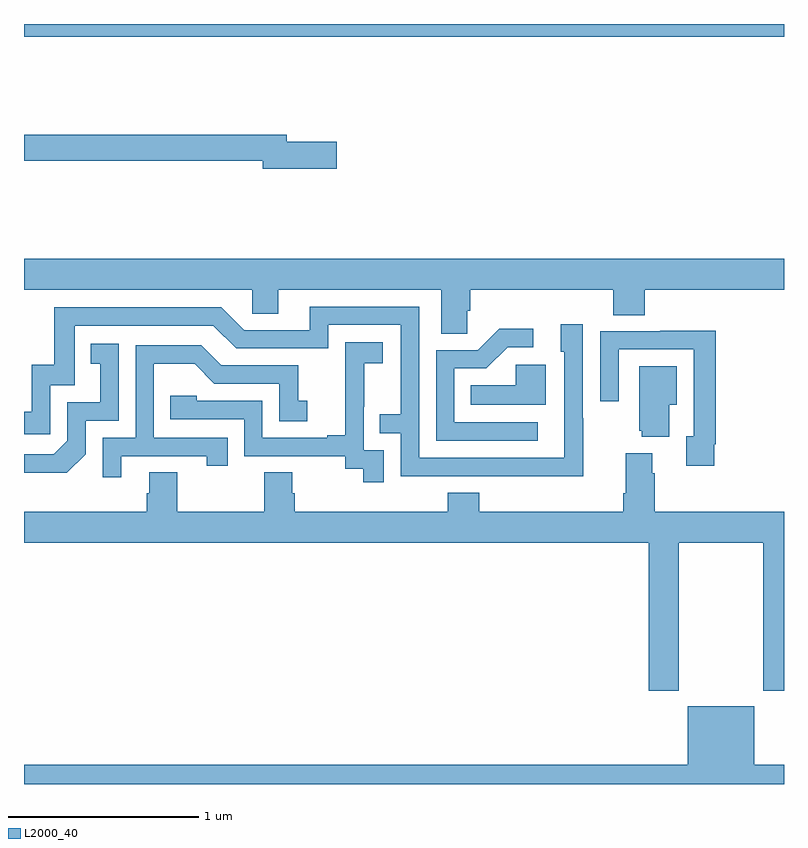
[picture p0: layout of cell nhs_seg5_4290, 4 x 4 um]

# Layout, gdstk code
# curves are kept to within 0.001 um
import gdstk
lib = gdstk.Library(unit=1e-6, precision=1e-09)
def R(c, l, rs):  # rectangles x0, y0, x1, y1
    for r in rs: c.add(gdstk.rectangle(r[:2], r[2:], *l))
def P(c, l, *ps):  # polygons
    for p in ps: c.add(gdstk.Polygon(p, *l))
L2000_40 = (2000, 40)

nhs_seg5_4290 = lib.new_cell('nhs_seg5_4290')
R(nhs_seg5_4290, L2000_40, [(363,884.732,367,884.799)])
P(nhs_seg5_4290, L2000_40, [(364.645,884.18),(364.384,884.18),(364.384,884.216),(363,884.216),(363,884.08),(364.256,884.08),(364.256,884.038),(364.645,884.038)],
  [(365.334,883.291),(365.348,883.291),(365.348,883.4),(366.101,883.4),(366.101,883.267),(366.266,883.267),(366.266,883.4),(367,883.4),(367,883.564),(363,883.564),(363,883.4),(364.2,883.4),(364.2,883.273),(364.339,883.273),(364.339,883.4),(365.195,883.4),(365.195,883.168),(365.334,883.168)],
  [(365.943,882.725),(365.94,882.725),(365.94,883.219),(365.825,883.219),(365.825,883.074),(365.844,883.074),(365.843,882.516),(365.079,882.516),(365.079,883.311),(364.505,883.311),(364.505,883.188),(364.158,883.188),(364.038,883.308),(363.159,883.308),(363.159,883.006),(363.041,883.006),(363.041,882.759),(363,882.759),(363,882.639),(363.138,882.639),(363.138,882.897),(363.267,882.897),(363.267,883.212),(363.996,883.212),(364.116,883.092),(364.602,883.092),(364.602,883.215),(364.983,883.215),(364.983,882.746),(364.873,882.746),(364.873,882.645),(364.983,882.645),(364.983,882.42),(365.943,882.419)],
  [(365.704,882.702),(365.265,882.702),(365.265,882.987),(365.434,882.987),(365.545,883.098),(365.68,883.098),(365.68,883.196),(365.501,883.196),(365.388,883.083),(365.169,883.083),(365.169,882.606),(365.704,882.606)],
  [(366.634,882.586),(366.641,882.586),(366.641,883.184),(366.349,883.184),(366.349,883.182),(366.033,883.182),(366.033,882.813),(366.129,882.813),(366.129,883.086),(366.525,883.086),(366.525,882.63),(366.485,882.63),(366.485,882.474),(366.634,882.474)],
  [(364.893,882.555),(364.788,882.555),(364.788,882.785),(364.79,882.785),(364.79,883.013),(364.888,883.013),(364.888,883.123),(364.69,883.123),(364.69,882.917),(364.691,882.917),(364.691,882.634),(364.595,882.634),(364.595,882.621),(364.254,882.621),(364.254,882.816),(363.909,882.816),(363.909,882.843),(363.769,882.843),(363.769,882.72),(364.158,882.72),(364.158,882.525),(364.692,882.525),(364.692,882.457),(364.785,882.457),(364.785,882.387),(364.893,882.387)],
  [(363.324,882.534),(363.324,882.711),(363.498,882.711),(363.498,883.117),(363.352,883.117),(363.352,883.011),(363.401,883.011),(363.401,882.807),(363.228,882.807),(363.228,882.606),(363.156,882.534),(363,882.534),(363,882.437),(363.226,882.437)],
  [(363.511,882.525),(363.962,882.525),(363.962,882.474),(364.073,882.474),(364.073,882.621),(363.684,882.621),(363.684,883.01),(363.898,883.01),(364.002,882.906),(364.344,882.906),(364.344,882.708),(364.492,882.708),(364.492,882.817),(364.443,882.817),(364.443,883.002),(364.039,883.002),(363.934,883.107),(363.588,883.107),(363.588,882.621),(363.414,882.621),(363.414,882.414),(363.511,882.414)],
  [(365.746,883.006),(365.589,883.006),(365.589,882.898),(365.35,882.898),(365.35,882.794),(365.746,882.794)],
  [(366.397,882.794),(366.436,882.794),(366.436,882.997),(366.239,882.997),(366.239,882.657),(366.251,882.657),(366.251,882.626),(366.397,882.626)],
  [(366.447,882.068),(366.892,882.068),(366.892,881.289),(367,881.289),(367,882.232),(366.32,882.232),(366.32,882.434),(366.307,882.434),(366.307,882.541),(366.167,882.541),(366.167,882.328),(366.155,882.328),(366.155,882.232),(365.396,882.232),(365.396,882.331),(365.231,882.331),(365.231,882.232),(364.424,882.232),(364.424,882.33),(364.411,882.33),(364.411,882.44),(364.264,882.44),(364.264,882.232),(363.807,882.232),(363.807,882.44),(363.659,882.44),(363.659,882.33),(363.647,882.33),(363.647,882.232),(363,882.232),(363,882.068),(366.287,882.068),(366.287,881.289),(366.447,881.289)],
  [(367,880.9),(366.844,880.9),(366.844,881.209),(366.494,881.209),(366.494,880.9),(363,880.9),(363,880.799),(367,880.799)])

lib.write_gds('nhs_seg5_4290.gds')
